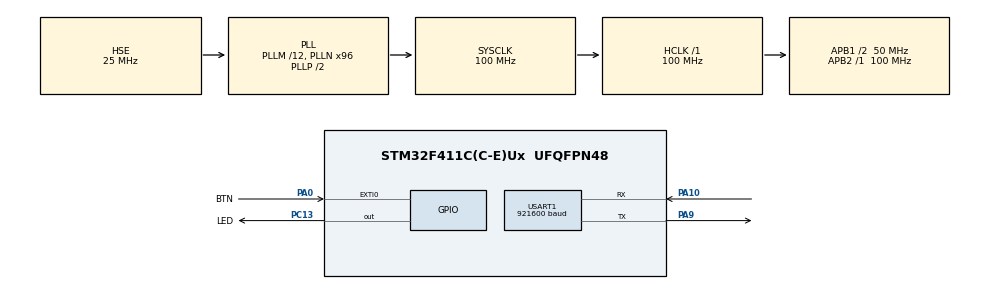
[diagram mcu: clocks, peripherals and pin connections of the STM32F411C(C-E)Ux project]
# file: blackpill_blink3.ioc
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Mcu.Family=STM32F4
Mcu.Name=STM32F411C(C-E)Ux
Mcu.Package=UFQFPN48
NVIC.EXTI0_IRQn=true\:0\:0\:false\:false\:true\:true\:true\:true
NVIC.PriorityGroup=NVIC_PRIORITYGROUP_4
PA0-WKUP.GPIO_Label=BTN
PA0-WKUP.GPIO_ModeDefaultEXTI=GPIO_MODE_IT_RISING
PA0-WKUP.GPIO_PuPd=GPIO_PULLUP
PA0-WKUP.Signal=GPXTI0
PA10.Mode=Asynchronous
PA10.Signal=USART1_RX
PA13.Mode=Serial_Wire
PA13.Signal=SYS_JTMS-SWDIO
PA14.Mode=Serial_Wire
PA14.Signal=SYS_JTCK-SWCLK
PA9.Mode=Asynchronous
PA9.Signal=USART1_TX
PC13-ANTI_TAMP.GPIO_Label=LED
PC13-ANTI_TAMP.GPIO_ModeDefaultOutputPP=GPIO_MODE_OUTPUT_OD
PC13-ANTI_TAMP.GPIO_PuPd=GPIO_NOPULL
PC13-ANTI_TAMP.PinState=GPIO_PIN_SET
PC13-ANTI_TAMP.Signal=GPIO_Output
PH0\ -\ OSC_IN.Mode=HSE-External-Oscillator
PH0\ -\ OSC_IN.Signal=RCC_OSC_IN
PH1\ -\ OSC_OUT.Mode=HSE-External-Oscillator
PH1\ -\ OSC_OUT.Signal=RCC_OSC_OUT
ProjectManager.HeapSize=0x200
ProjectManager.StackSize=0x400
ProjectManager.TargetToolchain=STM32CubeIDE
RCC.48MHZClocksFreq_Value=50000000
RCC.AHBFreq_Value=100000000
RCC.APB1CLKDivider=RCC_HCLK_DIV2
RCC.APB1Freq_Value=50000000
RCC.APB1TimFreq_Value=100000000
RCC.APB2Freq_Value=100000000
RCC.APB2TimFreq_Value=100000000
RCC.CortexFreq_Value=100000000
RCC.HCLKFreq_Value=100000000
RCC.HSE_VALUE=25000000
RCC.HSI_VALUE=16000000
RCC.LSE_VALUE=32768
RCC.PLLM=12
RCC.PLLN=96
RCC.PLLSourceVirtual=RCC_PLLSOURCE_HSE
RCC.SYSCLKFreq_VALUE=100000000
RCC.SYSCLKSource=RCC_SYSCLKSOURCE_PLLCLK
RCC.VCOOutputFreq_Value=200000000
USART1.BaudRate=921600
USART1.VirtualMode=VM_ASYNC
board=custom

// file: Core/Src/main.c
/* USER CODE BEGIN Header */
/**
 ******************************************************************************
 * @file           : main.c
 * @brief          : Main program body
 ******************************************************************************
 * @attention
 *
 * Copyright (c) 2024 Lars Boegild Thomsen <lth@stm32world.com>
 * All rights reserved.
 *
 * This software is licensed under terms that can be found in the LICENSE file
 * in the root directory of this software component.
 * If no LICENSE file comes with this software, it is provided AS-IS.
 *
 ******************************************************************************
 */
/* USER CODE END Header */
#include "main.h"

/* USER CODE BEGIN Includes */
#include <stdio.h>
/* USER CODE END Includes */

UART_HandleTypeDef huart1;

/* USER CODE BEGIN PV */
uint8_t btn_press = 0;

uint16_t blink_delays[] = { 500, 250, 100 };
uint8_t blink_delays_count = sizeof(blink_delays) / sizeof(blink_delays[0]);
uint8_t blink_delay = 0;

/* USER CODE END PV */

void SystemClock_Config(void);
static void MX_GPIO_Init(void);
static void MX_USART1_UART_Init(void);

/* USER CODE BEGIN 0 */

// Send printf to uart1
int _write(int fd, char *ptr, int len) {
    HAL_StatusTypeDef hstatus;

    if (fd == 1 || fd == 2) {
        hstatus = HAL_UART_Transmit(&huart1, (uint8_t*) ptr, len, HAL_MAX_DELAY);
        if (hstatus == HAL_OK)
            return len;
        else
            return -1;
    }
    return -1;
}

void HAL_GPIO_EXTI_Callback(uint16_t GPIO_Pin) {
    if (GPIO_Pin == BTN_Pin) {
        btn_press = 1;
    }
}

/* USER CODE END 0 */

int main(void)
{

    /* MCU Configuration--------------------------------------------------------*/

    /* Reset of all peripherals, Initializes the Flash interface and the Systick. */
    HAL_Init();

    /* Configure the system clock */
    SystemClock_Config();

    /* Initialize all configured peripherals */
    MX_GPIO_Init();
    MX_USART1_UART_Init();
    /* USER CODE BEGIN 2 */

    printf("Starting blackpill_blink3\n");

    /* USER CODE END 2 */

    /* Infinite loop */
    /* USER CODE BEGIN WHILE */

    uint32_t now = 0, next_blink = 500, next_tick = 1000, loop_cnt = 0;

    while (1) {

        now = HAL_GetTick();

        //if (now - last_blink >= blink_delays[blink_delay]) {
        if (now >= next_blink) {

            //printf("Toggling GPIO\n");

            HAL_GPIO_TogglePin(LED_GPIO_Port, LED_Pin);

            next_blink = now + blink_delays[blink_delay];
        }

        if (now >= next_tick) {

            printf("Tick %lu (loop count = %lu)\n", now / 1000, loop_cnt);

            loop_cnt = 0;
            next_tick = now + 1000;

        }

        if (btn_press) {

            printf("Button pressed\n");

//            ++blink_delay;
//            if (blink_delay >= blink_delays_count)
//                blink_delay = 0;

            // A viewer suggested this which is definitely cool but actually a tiny bit less
            // efficient.
            blink_delay = (++blink_delay) % blink_delays_count;

            btn_press = 0;

        }

        ++loop_cnt;

        /* USER CODE END WHILE */

    }
}

void SystemClock_Config(void)
{
    RCC_OscInitTypeDef RCC_OscInitStruct = { 0 };
    RCC_ClkInitTypeDef RCC_ClkInitStruct = { 0 };

    /** Configure the main internal regulator output voltage
     */
    __HAL_RCC_PWR_CLK_ENABLE();
    __HAL_PWR_VOLTAGESCALING_CONFIG(PWR_REGULATOR_VOLTAGE_SCALE1);

    /** Initializes the RCC Oscillators according to the specified parameters
     * in the RCC_OscInitTypeDef structure.
     */
    RCC_OscInitStruct.OscillatorType = RCC_OSCILLATORTYPE_HSE;
    RCC_OscInitStruct.HSEState = RCC_HSE_ON;
    RCC_OscInitStruct.PLL.PLLState = RCC_PLL_ON;
    RCC_OscInitStruct.PLL.PLLSource = RCC_PLLSOURCE_HSE;
    RCC_OscInitStruct.PLL.PLLM = 12;
    RCC_OscInitStruct.PLL.PLLN = 96;
    RCC_OscInitStruct.PLL.PLLP = RCC_PLLP_DIV2;
    RCC_OscInitStruct.PLL.PLLQ = 4;
    if (HAL_RCC_OscConfig(&RCC_OscInitStruct) != HAL_OK)
            {
        Error_Handler();
    }

    /** Initializes the CPU, AHB and APB buses clocks
     */
    RCC_ClkInitStruct.ClockType = RCC_CLOCKTYPE_HCLK | RCC_CLOCKTYPE_SYSCLK
            | RCC_CLOCKTYPE_PCLK1 | RCC_CLOCKTYPE_PCLK2;
    RCC_ClkInitStruct.SYSCLKSource = RCC_SYSCLKSOURCE_PLLCLK;
    RCC_ClkInitStruct.AHBCLKDivider = RCC_SYSCLK_DIV1;
    RCC_ClkInitStruct.APB1CLKDivider = RCC_HCLK_DIV2;
    RCC_ClkInitStruct.APB2CLKDivider = RCC_HCLK_DIV1;

    if (HAL_RCC_ClockConfig(&RCC_ClkInitStruct, FLASH_LATENCY_3) != HAL_OK)
            {
        Error_Handler();
    }
}

static void MX_USART1_UART_Init(void)
{

    huart1.Instance = USART1;
    huart1.Init.BaudRate = 2000000;
    huart1.Init.WordLength = UART_WORDLENGTH_8B;
    huart1.Init.StopBits = UART_STOPBITS_1;
    huart1.Init.Parity = UART_PARITY_NONE;
    huart1.Init.Mode = UART_MODE_TX_RX;
    huart1.Init.HwFlowCtl = UART_HWCONTROL_NONE;
    huart1.Init.OverSampling = UART_OVERSAMPLING_16;
    if (HAL_UART_Init(&huart1) != HAL_OK)
            {
        Error_Handler();
    }

}

static void MX_GPIO_Init(void)
{
    GPIO_InitTypeDef GPIO_InitStruct = { 0 };

    /* GPIO Ports Clock Enable */
    __HAL_RCC_GPIOC_CLK_ENABLE();
    __HAL_RCC_GPIOH_CLK_ENABLE();
    __HAL_RCC_GPIOA_CLK_ENABLE();

    /*Configure GPIO pin Output Level */
    HAL_GPIO_WritePin(LED_GPIO_Port, LED_Pin, GPIO_PIN_SET);

    /*Configure GPIO pin : LED_Pin */
    GPIO_InitStruct.Pin = LED_Pin;
    GPIO_InitStruct.Mode = GPIO_MODE_OUTPUT_OD;
    GPIO_InitStruct.Pull = GPIO_NOPULL;
    GPIO_InitStruct.Speed = GPIO_SPEED_FREQ_LOW;
    HAL_GPIO_Init(LED_GPIO_Port, &GPIO_InitStruct);

    /*Configure GPIO pin : BTN_Pin */
    GPIO_InitStruct.Pin = BTN_Pin;
    GPIO_InitStruct.Mode = GPIO_MODE_IT_RISING;
    GPIO_InitStruct.Pull = GPIO_PULLUP;
    HAL_GPIO_Init(BTN_GPIO_Port, &GPIO_InitStruct);

    /* EXTI interrupt init*/
    HAL_NVIC_SetPriority(EXTI0_IRQn, 0, 0);
    HAL_NVIC_EnableIRQ(EXTI0_IRQn);

}

void Error_Handler(void)
{
    __disable_irq();
    while (1) {
    }
}
